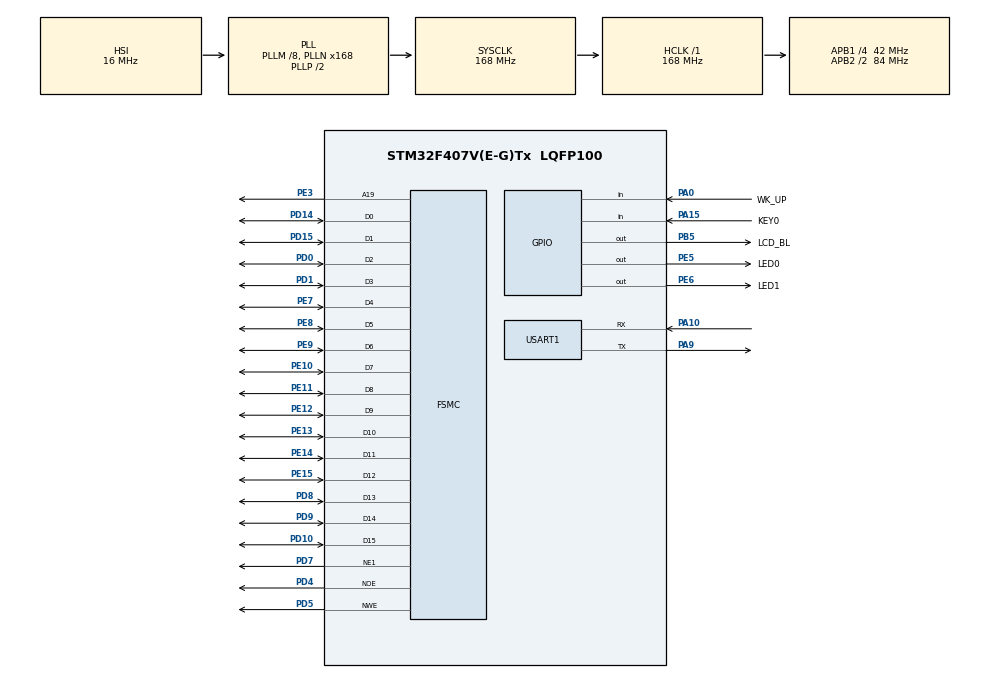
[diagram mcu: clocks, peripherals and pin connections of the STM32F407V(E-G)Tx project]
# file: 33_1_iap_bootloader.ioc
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FSMC.AddressSetupTime1=15
FSMC.BusTurnAroundDuration1=0
FSMC.DataSetupTime1=60
FSMC.ExtendedAddressSetupTime1=9
FSMC.ExtendedDataSetupTime1=9
FSMC.ExtendedMode1=FSMC_EXTENDED_MODE_ENABLE
Mcu.Family=STM32F4
Mcu.Name=STM32F407V(E-G)Tx
Mcu.Package=LQFP100
NVIC.PriorityGroup=NVIC_PRIORITYGROUP_2
NVIC.TIM4_IRQn=true\:2\:1\:true\:false\:true\:true\:true\:true
NVIC.USART1_IRQn=true\:2\:2\:true\:false\:true\:true\:true\:true
PA0-WKUP.GPIO_Label=WK_UP
PA0-WKUP.GPIO_PuPd=GPIO_PULLDOWN
PA0-WKUP.Signal=GPIO_Input
PA10.Mode=Asynchronous
PA10.Signal=USART1_RX
PA13.Mode=Serial_Wire
PA13.Signal=SYS_JTMS-SWDIO
PA14.Mode=Serial_Wire
PA14.Signal=SYS_JTCK-SWCLK
PA15.GPIO_Label=KEY0
PA15.GPIO_PuPd=GPIO_PULLDOWN
PA15.Signal=GPIO_Input
PA9.Mode=Asynchronous
PA9.Signal=USART1_TX
PB5.GPIO_Label=LCD_BL
PB5.GPIO_PuPd=GPIO_PULLUP
PB5.GPIO_Speed=GPIO_SPEED_FREQ_HIGH
PB5.PinState=GPIO_PIN_SET
PB5.Signal=GPIO_Output
PC14-OSC32_IN.Mode=LSE-External-Oscillator
PC14-OSC32_IN.Signal=RCC_OSC32_IN
PC15-OSC32_OUT.Mode=LSE-External-Oscillator
PC15-OSC32_OUT.Signal=RCC_OSC32_OUT
PD0.Mode=16b-d1
PD0.Signal=FSMC_D2
PD1.Mode=16b-d1
PD1.Signal=FSMC_D3
PD10.Mode=16b-d1
PD10.Signal=FSMC_D15
PD14.Mode=16b-d1
PD14.Signal=FSMC_D0
PD15.Mode=16b-d1
PD15.Signal=FSMC_D1
PD4.Mode=Lcd1
PD4.Signal=FSMC_NOE
PD5.Mode=Lcd1
PD5.Signal=FSMC_NWE
PD7.Mode=NorPsramChipSelect1_1
PD7.Signal=FSMC_NE1
PD8.Mode=16b-d1
PD8.Signal=FSMC_D13
PD9.Mode=16b-d1
PD9.Signal=FSMC_D14
PE10.Mode=16b-d1
PE10.Signal=FSMC_D7
PE11.Mode=16b-d1
PE11.Signal=FSMC_D8
PE12.Mode=16b-d1
PE12.Signal=FSMC_D9
PE13.Mode=16b-d1
PE13.Signal=FSMC_D10
PE14.Mode=16b-d1
PE14.Signal=FSMC_D11
PE15.Mode=16b-d1
PE15.Signal=FSMC_D12
PE3.Mode=A19_1
PE3.Signal=FSMC_A19
PE5.GPIO_Label=LED0
PE5.GPIO_PuPd=GPIO_PULLUP
PE5.GPIO_Speed=GPIO_SPEED_FREQ_HIGH
PE5.PinState=GPIO_PIN_SET
PE5.Signal=GPIO_Output
PE6.GPIO_Label=LED1
PE6.GPIO_PuPd=GPIO_PULLUP
PE6.GPIO_Speed=GPIO_SPEED_FREQ_HIGH
PE6.PinState=GPIO_PIN_SET
PE6.Signal=GPIO_Output
PE7.Mode=16b-d1
PE7.Signal=FSMC_D4
PE8.Mode=16b-d1
PE8.Signal=FSMC_D5
PE9.Mode=16b-d1
PE9.Signal=FSMC_D6
PH0-OSC_IN.Mode=HSE-External-Oscillator
PH0-OSC_IN.Signal=RCC_OSC_IN
PH1-OSC_OUT.Mode=HSE-External-Oscillator
PH1-OSC_OUT.Signal=RCC_OSC_OUT
ProjectManager.HeapSize=0x100
ProjectManager.StackSize=0x400
ProjectManager.TargetToolchain=STM32CubeIDE
RCC.48MHZClocksFreq_Value=84000000
RCC.AHBFreq_Value=168000000
RCC.APB1CLKDivider=RCC_HCLK_DIV4
RCC.APB1Freq_Value=42000000
RCC.APB1TimFreq_Value=84000000
RCC.APB2CLKDivider=RCC_HCLK_DIV2
RCC.APB2Freq_Value=84000000
RCC.APB2TimFreq_Value=168000000
RCC.CortexFreq_Value=168000000
RCC.HCLKFreq_Value=168000000
RCC.HSE_VALUE=25000000
RCC.HSI_VALUE=16000000
RCC.PLLM=8
RCC.PLLN=168
RCC.SYSCLKFreq_VALUE=168000000
RCC.SYSCLKSource=RCC_SYSCLKSOURCE_PLLCLK
RCC.VCOOutputFreq_Value=336000000
TIM4.AutoReloadPreload=TIM_AUTORELOAD_PRELOAD_ENABLE
TIM4.Period=1000
TIM4.Prescaler=8400-1
USART1.VirtualMode=VM_ASYNC
VP_TIM4_VS_ClockSourceINT.Mode=Internal
board=custom

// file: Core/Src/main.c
/**
 ****************************************************************************************************
 * @file        main.c
 * @author      ALIENTEK
 * @brief       iap code
 * @license     Copyright (C) 2012-2024, ALIENTEK
 ****************************************************************************************************
 * @attention
 *
 * platform     : ALIENTEK M100-STM32F407 board
 * website      : www.alientek.com
 * forum        : www.openedv.com/forum.php
 *
 * change logs  :
 * version      data         notes
 * V1.0         20240409     the first version
 *
 ****************************************************************************************************
 */

 /* USER CODE BEGIN Header */

/* USER CODE END Header */
#include "main.h"
#include "tim.h"
#include "usart.h"
#include "gpio.h"
#include "fsmc.h"

/* USER CODE BEGIN Includes */
#include "../../ATK_Middlewares/USMART/usmart.h"
#include "../../BSP/LED/led.h"
#include "../../BSP/KEY/key.h"
#include "../../BSP/LCD/lcd.h"
#include "../../BSP/STMFLASH/stmflash.h"
#include "../../ATK_Middlewares/IAP/iap.h"
/* USER CODE END Includes */

/* USER CODE BEGIN PD */
/**
 * @brief   Displays information about the experiment
 * @param   None
 * @retval  None
 */
void stm32f407vg_show_mesg(void)
{
	/* The serial port outputs the experimental information */
	printf("\n");
	printf("********************************\r\n");
	printf("STM32F407\r\n");
	printf("STMFLASH Test\r\n");
	printf("ATOM@ALIENTEK\r\n");
	printf("********************************\r\n");
	printf("\r\n");
}
/* USER CODE END PD */

void SystemClock_Config(void);
/* USER CODE BEGIN PFP */
extern void iap_load_app(uint32_t appxaddr);
extern void iap_write_appbin(uint32_t appxaddr,uint8_t *appbuf,uint32_t applen);
/* USER CODE END PFP */

int main(void)
{
  /* USER CODE BEGIN 1 */
   uint8_t t = 0;
   uint8_t key;
   uint32_t lastcount = 0;
   uint32_t applenth = 0;
   uint8_t clearflag = 0;
  /* USER CODE END 1 */

  /* MCU Configuration--------------------------------------------------------*/

  /* Reset of all peripherals, Initializes the Flash interface and the Systick. */
  HAL_Init();

  /* Configure the system clock */
  SystemClock_Config();

  /* Initialize all configured peripherals */
  MX_GPIO_Init();
  MX_USART1_UART_Init();
  MX_FSMC_Init();
  MX_TIM4_Init();
  /* USER CODE BEGIN 2 */
  lcd_init();                                         /* Initialize LCD */
  stm32f407vg_show_mesg();
  lcd_show_string(30, 50, 200, 16, 16, "STM32", RED);
  lcd_show_string(30, 70, 200, 16, 16, "IAP TEST", RED);
  lcd_show_string(30, 90, 200, 16, 16, "ATOM@ALIENTEK", RED);

  lcd_show_string(30, 90, 200, 16, 16, "WKUP: Copy app 2 flash", RED);
  lcd_show_string(30, 110, 200, 16, 16, "KEY0: Run flash app", RED);

  /* USER CODE END 2 */

  /* Infinite loop */
  while (1)
  {
	  if (g_usart_rx_cnt != 0)
	  {
	     /* If no new data is received in the new loop, the data is considered to be received */
	     if (lastcount == g_usart_rx_cnt)
	     {
	         applenth = g_usart_rx_cnt;
	         lastcount = 0;
	         g_usart_rx_cnt = 0;
	         printf("User program reception complete!\r\n");
	         printf("code length:%dBytes\r\n", applenth);
	     }
	     else
	     {
	         lastcount = g_usart_rx_cnt;
	     }
	  }

	  key = key_scan(0);
	  if (key == WKUP_PRES)
	  {
	      if (applenth != 0)
	      {
	          printf("Start updating firmware...\r\n");
	          lcd_show_string(30, 130, 200, 16, 16, "Copying app 2 flash...", BLUE);
	          if (((*(volatile uint32_t *)(0x20002000 + 4)) & 0xFF000000) == 0x08000000)
	          {
	              iap_write_appbin(FLASH_APP1_ADDR, g_usart_rx_buf, applenth);
	              lcd_show_string(30, 130, 200, 16, 16, "Copy app succedded!   ", BLUE);
	              printf("Firmware update complete!\r\n");
	          }
	          else
	          {
	              lcd_show_string(30, 130, 200, 16, 16, "Illegal flash app!    ", BLUE);
	              printf("Non-flash apps!\r\n");
	          }
	       }
	       else
	       {
	           printf("No firmware to update!\r\n");
	           lcd_show_string(30, 130, 200, 16, 16, "No app!", BLUE);
	       }
	       clearflag = 10;
	  }
	  else if (key == KEY0_PRES)
	  {
	      printf("flash addr :%x \r\n",(*(volatile uint32_t *)(FLASH_APP1_ADDR + 4)) & 0xFF000000);
	      if (((*(volatile uint32_t *)(FLASH_APP1_ADDR + 4)) & 0xFF000000) == 0x08000000)
	      {
	          printf("Start executing FLASH user code!!\r\n\r\n");
	          HAL_Delay(10);
	          iap_load_app(FLASH_APP1_ADDR);
	      }
	      else
	      {
	          printf("No firmware to run!\r\n");
	          lcd_show_string(30, 130, 200, 16, 16, "No APP!", BLUE);
	      }
	      clearflag = 10;
	  }

	  if (++t == 2)
	  {
	      t = 0;

	      if (clearflag != 0)
	      {
	          clearflag--;
	          if (clearflag == 0)
	          {
	              lcd_fill(30, 130, 240, 146, WHITE);
	          }
	      }

	      LED0_TOGGLE(); /* flashing LED0 indicates that the system is running */
	  }

	  HAL_Delay(100);
  }
}

void SystemClock_Config(void)
{
  RCC_OscInitTypeDef RCC_OscInitStruct = {0};
  RCC_ClkInitTypeDef RCC_ClkInitStruct = {0};

  /** Configure the main internal regulator output voltage
  */
  __HAL_RCC_PWR_CLK_ENABLE();
  __HAL_PWR_VOLTAGESCALING_CONFIG(PWR_REGULATOR_VOLTAGE_SCALE1);

  /** Initializes the RCC Oscillators according to the specified parameters
  * in the RCC_OscInitTypeDef structure.
  */
  RCC_OscInitStruct.OscillatorType = RCC_OSCILLATORTYPE_HSI;
  RCC_OscInitStruct.HSIState = RCC_HSI_ON;
  RCC_OscInitStruct.HSICalibrationValue = RCC_HSICALIBRATION_DEFAULT;
  RCC_OscInitStruct.PLL.PLLState = RCC_PLL_ON;
  RCC_OscInitStruct.PLL.PLLSource = RCC_PLLSOURCE_HSI;
  RCC_OscInitStruct.PLL.PLLM = 8;
  RCC_OscInitStruct.PLL.PLLN = 168;
  RCC_OscInitStruct.PLL.PLLP = RCC_PLLP_DIV2;
  RCC_OscInitStruct.PLL.PLLQ = 4;
  if (HAL_RCC_OscConfig(&RCC_OscInitStruct) != HAL_OK)
  {
    Error_Handler();
  }

  /** Initializes the CPU, AHB and APB buses clocks
  */
  RCC_ClkInitStruct.ClockType = RCC_CLOCKTYPE_HCLK|RCC_CLOCKTYPE_SYSCLK
                              |RCC_CLOCKTYPE_PCLK1|RCC_CLOCKTYPE_PCLK2;
  RCC_ClkInitStruct.SYSCLKSource = RCC_SYSCLKSOURCE_PLLCLK;
  RCC_ClkInitStruct.AHBCLKDivider = RCC_SYSCLK_DIV1;
  RCC_ClkInitStruct.APB1CLKDivider = RCC_HCLK_DIV4;
  RCC_ClkInitStruct.APB2CLKDivider = RCC_HCLK_DIV2;

  if (HAL_RCC_ClockConfig(&RCC_ClkInitStruct, FLASH_LATENCY_5) != HAL_OK)
  {
    Error_Handler();
  }
}

void Error_Handler(void)
{
  __disable_irq();
  while (1)
  {
  }
}
